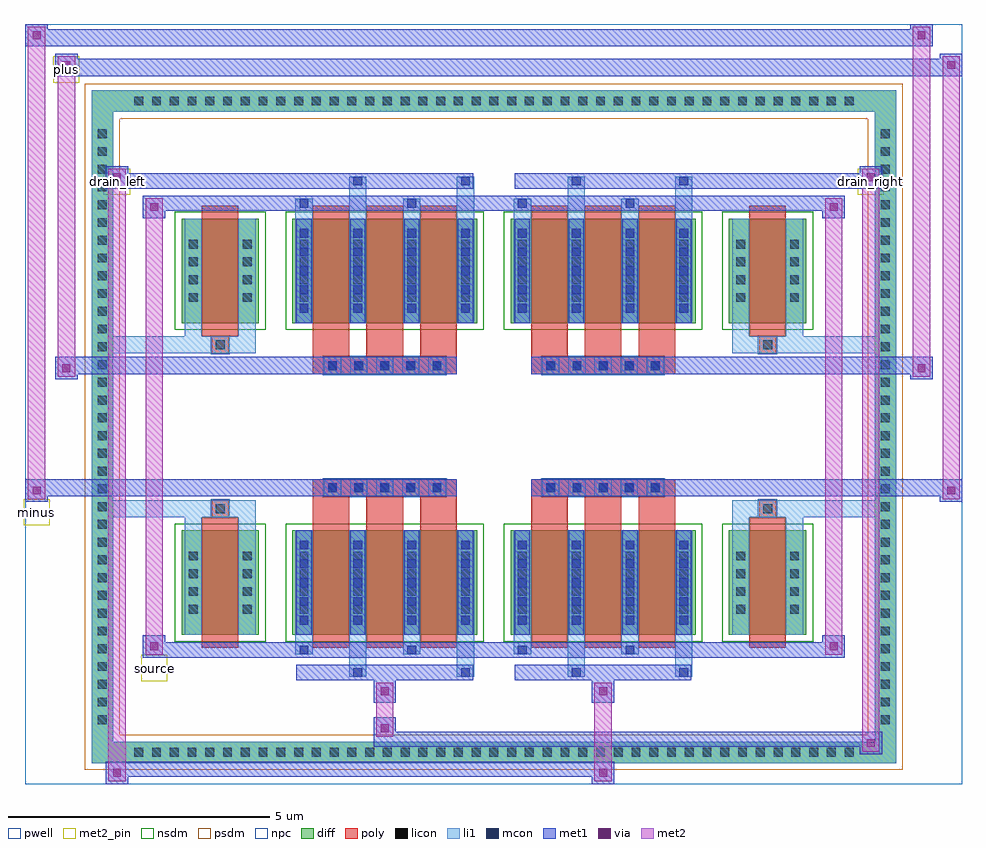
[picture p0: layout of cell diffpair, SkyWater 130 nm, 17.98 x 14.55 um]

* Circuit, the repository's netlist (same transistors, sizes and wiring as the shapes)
* NGSPICE file created from diffpair.ext - technology: sky130A

.subckt diffpair minus drain_right drain_left source plus
X0 a_n1540_n1288# a_n1540_n1288# a_n1540_n1288# a_n1540_n1288# sky130_fd_pr__nfet_01v8 ad=0.78 pd=4.78 as=6.24 ps=38.24 w=2 l=0.7
X1 drain_left plus source a_n1540_n1288# sky130_fd_pr__nfet_01v8 ad=0.33 pd=2.33 as=0.78 ps=4.78 w=2 l=0.7
X2 source minus drain_right a_n1540_n1288# sky130_fd_pr__nfet_01v8 ad=0.33 pd=2.33 as=0.33 ps=2.33 w=2 l=0.7
X3 drain_left plus source a_n1540_n1288# sky130_fd_pr__nfet_01v8 ad=0.78 pd=4.78 as=0.33 ps=2.33 w=2 l=0.7
X4 drain_left plus source a_n1540_n1288# sky130_fd_pr__nfet_01v8 ad=0.78 pd=4.78 as=0.33 ps=2.33 w=2 l=0.7
X5 a_n1540_n1288# a_n1540_n1288# a_n1540_n1288# a_n1540_n1288# sky130_fd_pr__nfet_01v8 ad=0.78 pd=4.78 as=0 ps=0 w=2 l=0.7
X6 drain_right minus source a_n1540_n1288# sky130_fd_pr__nfet_01v8 ad=0.78 pd=4.78 as=0.33 ps=2.33 w=2 l=0.7
X7 a_n1540_n1288# a_n1540_n1288# a_n1540_n1288# a_n1540_n1288# sky130_fd_pr__nfet_01v8 ad=0.78 pd=4.78 as=0 ps=0 w=2 l=0.7
X8 a_n1540_n1288# a_n1540_n1288# a_n1540_n1288# a_n1540_n1288# sky130_fd_pr__nfet_01v8 ad=0.78 pd=4.78 as=0 ps=0 w=2 l=0.7
X9 source minus drain_right a_n1540_n1288# sky130_fd_pr__nfet_01v8 ad=0.33 pd=2.33 as=0.33 ps=2.33 w=2 l=0.7
X10 drain_right minus source a_n1540_n1288# sky130_fd_pr__nfet_01v8 ad=0.33 pd=2.33 as=0.78 ps=4.78 w=2 l=0.7
X11 drain_right minus source a_n1540_n1288# sky130_fd_pr__nfet_01v8 ad=0.78 pd=4.78 as=0.33 ps=2.33 w=2 l=0.7
X12 source plus drain_left a_n1540_n1288# sky130_fd_pr__nfet_01v8 ad=0.33 pd=2.33 as=0.33 ps=2.33 w=2 l=0.7
X13 drain_right minus source a_n1540_n1288# sky130_fd_pr__nfet_01v8 ad=0.33 pd=2.33 as=0.78 ps=4.78 w=2 l=0.7
X14 source plus drain_left a_n1540_n1288# sky130_fd_pr__nfet_01v8 ad=0.33 pd=2.33 as=0.33 ps=2.33 w=2 l=0.7
X15 drain_left plus source a_n1540_n1288# sky130_fd_pr__nfet_01v8 ad=0.33 pd=2.33 as=0.78 ps=4.78 w=2 l=0.7
.ends

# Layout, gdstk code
import gdstk
lib = gdstk.Library(unit=1e-6, precision=5e-09)
def R(c, l, rs):  # rectangles x0, y0, x1, y1
    for r in rs: c.add(gdstk.rectangle(r[:2], r[2:], *l))
def A(c, l, x, y, w, h, nx, ny, dx, dy):  # array of equal rectangles
    R(c, l, [(x+i*dx, y+j*dy, x+i*dx+w, y+j*dy+h) for i in range(nx) for j in range(ny)])
def P(c, l, *ps):  # polygons
    for p in ps: c.add(gdstk.Polygon(p, *l))
pwell = (64, 44)
diff = (65, 20)
poly = (66, 20)
licon = (66, 44)
li1 = (67, 20)
mcon = (67, 44)
met1 = (68, 20)
via = (68, 44)
met2_pin = (69, 16)
met2 = (69, 20)
nsdm = (93, 44)
psdm = (94, 20)
npc = (95, 20)

diffpair = lib.new_cell('diffpair')
R(diffpair, pwell, [(-8.97,-6.84,8.97,7.71), (-6.29,-5.03,-0.01,-0.805), (0.01,-5.03,6.29,-0.805), (-6.29,0.805,-0.01,5.03), (0.01,0.805,6.29,5.03)])
A(diffpair, diff, -7.005, -6.44, 0.41, 0.41, 41, 2, 0.34, 12.47)
A(diffpair, diff, -7.7, -5.815, 0.41, 0.41, 1, 34, 0, 0.34)
A(diffpair, diff, 7.29, -5.815, 0.41, 0.41, 1, 34, 0, 0.34)
R(diffpair, diff, [(-7.005,-6.44,7.005,-6.03), (-7.7,-5.815,-7.29,5.815), (7.29,-5.815,7.7,5.815), (-5.98,-3.985,-4.5,-1.985), (-3.86,-3.985,-0.32,-1.985), (0.32,-3.985,3.86,-1.985), (4.5,-3.985,5.98,-1.985), (-5.98,1.985,-4.5,3.985), (-3.86,1.985,-0.32,3.985), (0.32,1.985,3.86,3.985), (4.5,1.985,5.98,3.985), (-7.005,6.03,7.005,6.44)])
P(diffpair, diff, [(7.7,6.44),(-7.7,6.44),(-7.7,-6.03),(-7.29,-6.03),(-7.29,6.03),(7.29,6.03),(7.29,-6.03),(-7.29,-6.03),(-7.7,-6.03),(-7.7,-6.44),(7.7,-6.44)])
A(diffpair, poly, -3.47, -4.235, 0.7, 2.5, 3, 2, 1.03, 5.97)
A(diffpair, poly, 0.71, -4.235, 0.7, 2.5, 3, 2, 1.03, 5.97)
A(diffpair, poly, -3.47, -1.735, 0.7, 0.4, 3, 2, 1.03, 3.07)
A(diffpair, poly, 0.71, -1.735, 0.7, 0.4, 3, 2, 1.03, 3.07)
A(diffpair, poly, -3.255, -1.335, 0.33, 0.33, 5, 2, 0.5, 2.34)
A(diffpair, poly, 0.925, -1.335, 0.33, 0.33, 5, 2, 0.5, 2.34)
R(diffpair, poly, [(-5.59,-4.235,-4.89,-1.735), (4.89,-4.235,5.59,-1.735), (-5.405,-1.735,-5.075,-1.405), (-5.405,-1.735,-5.075,-1.405), (5.075,-1.735,5.405,-1.405), (5.075,-1.735,5.405,-1.405), (-3.47,-1.335,-0.71,-1.005), (0.71,-1.335,3.47,-1.005), (-3.47,1.005,-0.71,1.335), (0.71,1.005,3.47,1.335), (-5.405,1.405,-5.075,1.735), (-5.405,1.405,-5.075,1.735), (5.075,1.405,5.405,1.735), (5.075,1.405,5.405,1.735), (-5.59,1.735,-4.89,4.235), (4.89,1.735,5.59,4.235)])
A(diffpair, licon, -6.885, -6.32, 0.17, 0.17, 41, 2, 0.34, 12.47)
A(diffpair, licon, -7.58, -5.695, 0.17, 0.17, 1, 34, 0, 0.34)
A(diffpair, licon, 7.41, -5.695, 0.17, 0.17, 1, 34, 0, 0.34)
A(diffpair, licon, -5.84, -3.58, 0.17, 0.17, 1, 4, 0, 0.34)
A(diffpair, licon, -4.81, -3.58, 0.17, 0.17, 1, 4, 0, 0.34)
A(diffpair, licon, -3.72, -3.58, 0.17, 0.17, 4, 4, 1.03, 0.34)
A(diffpair, licon, 0.46, -3.58, 0.17, 0.17, 4, 4, 1.03, 0.34)
A(diffpair, licon, 4.64, -3.58, 0.17, 0.17, 1, 4, 0, 0.34)
A(diffpair, licon, 5.67, -3.58, 0.17, 0.17, 1, 4, 0, 0.34)
A(diffpair, licon, -3.175, -1.255, 0.17, 0.17, 5, 2, 0.5, 2.34)
A(diffpair, licon, 1.005, -1.255, 0.17, 0.17, 5, 2, 0.5, 2.34)
A(diffpair, licon, -5.84, 2.39, 0.17, 0.17, 1, 4, 0, 0.34)
A(diffpair, licon, -4.81, 2.39, 0.17, 0.17, 1, 4, 0, 0.34)
A(diffpair, licon, -3.72, 2.39, 0.17, 0.17, 4, 4, 1.03, 0.34)
A(diffpair, licon, 0.46, 2.39, 0.17, 0.17, 4, 4, 1.03, 0.34)
A(diffpair, licon, 4.64, 2.39, 0.17, 0.17, 1, 4, 0, 0.34)
A(diffpair, licon, 5.67, 2.39, 0.17, 0.17, 1, 4, 0, 0.34)
R(diffpair, licon, [(-5.325,-1.655,-5.155,-1.485), (5.155,-1.655,5.325,-1.485), (-5.325,1.485,-5.155,1.655), (5.155,1.485,5.325,1.655)])
A(diffpair, li1, -6.965, -6.4, 0.33, 0.33, 41, 2, 0.34, 12.47)
A(diffpair, li1, -7.66, -5.775, 0.33, 0.33, 1, 34, 0, 0.34)
A(diffpair, li1, 7.33, -5.775, 0.33, 0.33, 1, 34, 0, 0.34)
A(diffpair, li1, -3.8, -3.985, 0.33, 2, 4, 2, 1.03, 5.97)
A(diffpair, li1, 0.38, -3.985, 0.33, 2, 4, 2, 1.03, 5.97)
A(diffpair, li1, -3.72, -3.79, 0.17, 0.17, 4, 5, 1.03, 0.36)
A(diffpair, li1, -3.72, -3.79, 0.17, 1.61, 4, 2, 1.03, 5.97)
A(diffpair, li1, 0.46, -3.79, 0.17, 0.17, 4, 5, 1.03, 0.36)
A(diffpair, li1, 0.46, -3.79, 0.17, 1.61, 4, 2, 1.03, 5.97)
A(diffpair, li1, -5.92, -3.66, 0.33, 0.33, 1, 4, 0, 0.34)
A(diffpair, li1, -4.89, -3.66, 0.33, 0.33, 1, 4, 0, 0.34)
A(diffpair, li1, -3.8, -3.66, 0.33, 0.33, 4, 4, 1.03, 0.34)
A(diffpair, li1, 0.38, -3.66, 0.33, 0.33, 4, 4, 1.03, 0.34)
A(diffpair, li1, 4.56, -3.66, 0.33, 0.33, 1, 4, 0, 0.34)
A(diffpair, li1, 5.59, -3.66, 0.33, 0.33, 1, 4, 0, 0.34)
A(diffpair, li1, -3.255, -1.335, 0.33, 0.33, 5, 2, 0.5, 2.34)
A(diffpair, li1, 0.925, -1.335, 0.33, 0.33, 5, 2, 0.5, 2.34)
A(diffpair, li1, -3.72, 2.18, 0.17, 0.17, 4, 5, 1.03, 0.36)
A(diffpair, li1, 0.46, 2.18, 0.17, 0.17, 4, 5, 1.03, 0.36)
A(diffpair, li1, -5.92, 2.31, 0.33, 0.33, 1, 4, 0, 0.34)
A(diffpair, li1, -4.89, 2.31, 0.33, 0.33, 1, 4, 0, 0.34)
A(diffpair, li1, -3.8, 2.31, 0.33, 0.33, 4, 4, 1.03, 0.34)
A(diffpair, li1, 0.38, 2.31, 0.33, 0.33, 4, 4, 1.03, 0.34)
A(diffpair, li1, 4.56, 2.31, 0.33, 0.33, 1, 4, 0, 0.34)
A(diffpair, li1, 5.59, 2.31, 0.33, 0.33, 1, 4, 0, 0.34)
R(diffpair, li1, [(-7.7,-6.44,-7.29,-6.03), (-7.7,-6.44,-7.29,-6.03), (-7.29,-6.44,7.29,-6.03), (7.29,-6.44,7.7,-6.03), (7.29,-6.44,7.7,-6.03), (-7.7,-6.03,-7.29,6.03), (7.29,-6.03,7.7,6.03), (-2.77,-4.79,-2.44,-3.985), (-2.69,-4.79,-2.52,-4.62), (-0.71,-4.79,-0.38,-3.985), (-0.63,-4.79,-0.46,-4.62), (1.41,-4.79,1.74,-3.985), (1.49,-4.79,1.66,-4.62), (3.47,-4.79,3.8,-3.985), (3.55,-4.79,3.72,-4.62), (-3.8,-4.36,-3.47,-3.985), (-3.72,-4.36,-3.55,-4.19), (-1.74,-4.36,-1.41,-3.985), (-1.66,-4.36,-1.49,-4.19), (0.38,-4.36,0.71,-3.985), (0.46,-4.36,0.63,-4.19), (2.44,-4.36,2.77,-3.985), (2.52,-4.36,2.69,-4.19), (-5.92,-3.985,-5.59,-1.985), (-4.89,-3.985,-4.56,-1.985), (4.56,-3.985,4.89,-1.985), (5.59,-3.985,5.92,-1.985), (-5.92,-1.985,-5.59,-1.405), (-4.89,-1.985,-4.56,-1.405), (4.56,-1.985,4.89,-1.405), (5.59,-1.985,5.92,-1.405), (-7.7,-1.735,-5.405,-1.405), (-5.92,-1.735,-5.405,-1.405), (-5.405,-1.735,-5.075,-1.405), (-5.075,-1.735,-4.56,-1.405), (4.56,-1.735,5.075,-1.405), (5.075,-1.735,5.405,-1.405), (5.075,-1.735,7.7,-1.405), (5.405,-1.735,5.92,-1.405), (-7.7,1.405,-5.405,1.735), (-5.92,1.405,-5.405,1.735), (-5.92,1.405,-5.59,1.985), (-5.405,1.405,-5.075,1.735), (-5.075,1.405,-4.56,1.735), (-4.89,1.405,-4.56,1.985), (4.56,1.405,5.075,1.735), (4.56,1.405,4.89,1.985), (5.075,1.405,5.405,1.735), (5.075,1.405,7.7,1.735), (5.405,1.405,5.92,1.735), (5.59,1.405,5.92,1.985), (-5.92,1.985,-5.59,3.985), (-4.89,1.985,-4.56,3.985), (4.56,1.985,4.89,3.985), (5.59,1.985,5.92,3.985), (-3.8,3.985,-3.47,4.36), (-2.77,3.985,-2.44,4.79), (-1.74,3.985,-1.41,4.36), (-0.71,3.985,-0.38,4.79), (0.38,3.985,0.71,4.36), (1.41,3.985,1.74,4.79), (2.44,3.985,2.77,4.36), (3.47,3.985,3.8,4.79), (-3.72,4.19,-3.55,4.36), (-1.66,4.19,-1.49,4.36), (0.46,4.19,0.63,4.36), (2.52,4.19,2.69,4.36), (-2.69,4.62,-2.52,4.79), (-0.63,4.62,-0.46,4.79), (1.49,4.62,1.66,4.79), (3.55,4.62,3.72,4.79), (-7.7,6.03,-7.29,6.44), (-7.7,6.03,-7.29,6.44), (-7.29,6.03,7.29,6.44), (7.29,6.03,7.7,6.44), (7.29,6.03,7.7,6.44)])
A(diffpair, mcon, -3.72, -3.79, 0.17, 0.17, 4, 5, 1.03, 0.36)
A(diffpair, mcon, 0.46, -3.79, 0.17, 0.17, 4, 5, 1.03, 0.36)
A(diffpair, mcon, -3.175, -1.255, 0.17, 0.17, 5, 2, 0.5, 2.34)
A(diffpair, mcon, 1.005, -1.255, 0.17, 0.17, 5, 2, 0.5, 2.34)
A(diffpair, mcon, -3.72, 2.18, 0.17, 0.17, 4, 5, 1.03, 0.36)
A(diffpair, mcon, 0.46, 2.18, 0.17, 0.17, 4, 5, 1.03, 0.36)
R(diffpair, mcon, [(-2.69,-4.79,-2.52,-4.62), (-0.63,-4.79,-0.46,-4.62), (1.49,-4.79,1.66,-4.62), (3.55,-4.79,3.72,-4.62), (-3.72,-4.36,-3.55,-4.19), (-1.66,-4.36,-1.49,-4.19), (0.46,-4.36,0.63,-4.19), (2.52,-4.36,2.69,-4.19), (-3.72,4.19,-3.55,4.36), (-1.66,4.19,-1.49,4.36), (0.46,4.19,0.63,4.36), (2.52,4.19,2.69,4.36), (-2.69,4.62,-2.52,4.79), (-0.63,4.62,-0.46,4.79), (1.49,4.62,1.66,4.79), (3.55,4.62,3.72,4.79)])
A(diffpair, met1, -3.78, -3.985, 0.29, 2, 4, 2, 1.03, 5.97)
A(diffpair, met1, 0.4, -3.985, 0.29, 2, 4, 2, 1.03, 5.97)
A(diffpair, met1, -3.78, -3.85, 0.29, 0.29, 4, 5, 1.03, 0.36)
A(diffpair, met1, 0.4, -3.85, 0.29, 0.29, 4, 5, 1.03, 0.36)
A(diffpair, met1, -3.235, -1.315, 0.29, 0.29, 5, 2, 0.5, 2.34)
A(diffpair, met1, 0.945, -1.315, 0.29, 0.29, 5, 2, 0.5, 2.34)
A(diffpair, met1, -3.78, 2.12, 0.29, 0.29, 4, 5, 1.03, 0.36)
A(diffpair, met1, 0.4, 2.12, 0.29, 0.29, 4, 5, 1.03, 0.36)
R(diffpair, met1, [(-7.43,-6.84,-7,-6.41), (1.875,-6.84,2.305,-6.41), (-7.43,-6.7,2.305,-6.41), (7,-6.27,7.43,-5.84), (-2.305,-6.13,7.43,-5.84), (-2.305,-5.99,-1.875,-5.56), (-2.305,-5.28,-1.875,-4.85), (1.875,-5.28,2.305,-4.85), (-3.78,-4.85,-0.4,-4.56), (-2.75,-4.85,-2.46,-4.56), (-0.69,-4.85,-0.4,-4.56), (0.4,-4.85,3.78,-4.56), (1.43,-4.85,1.72,-4.56), (3.49,-4.85,3.78,-4.56), (-6.72,-4.42,-6.29,-3.99), (-6.72,-4.42,-3.78,-4.13), (-3.78,-4.42,-3.49,-4.13), (-3.78,-4.42,-0.4,-4.13), (-1.72,-4.42,-1.43,-4.13), (-0.4,-4.42,0.4,-4.13), (0.4,-4.42,0.69,-4.13), (0.4,-4.42,3.78,-4.13), (2.46,-4.42,2.75,-4.13), (3.78,-4.42,6.72,-4.13), (6.29,-4.42,6.72,-3.99), (-8.97,-1.435,-8.54,-1.005), (8.54,-1.435,8.97,-1.005), (-8.97,-1.335,-0.71,-1.005), (-3.47,-1.335,-0.71,-1.005), (0.71,-1.335,3.47,-1.005), (0.71,-1.335,8.97,-1.005), (-8.4,0.905,-7.97,1.335), (7.97,0.905,8.4,1.335), (-8.4,1.005,-3.47,1.335), (-3.47,1.005,-0.71,1.335), (0.71,1.005,3.47,1.335), (3.47,1.005,8.4,1.335), (-6.72,3.99,-6.29,4.42), (6.29,3.99,6.72,4.42), (-6.72,4.13,-3.78,4.42), (-3.78,4.13,-3.49,4.42), (-3.78,4.13,-0.4,4.42), (-1.72,4.13,-1.43,4.42), (-0.4,4.13,0.4,4.42), (0.4,4.13,0.69,4.42), (0.4,4.13,3.78,4.42), (2.46,4.13,2.75,4.42), (3.78,4.13,6.72,4.42), (-7.43,4.56,-7,4.99), (-7.43,4.56,-3.78,4.85), (-3.78,4.56,-0.4,4.85), (-2.75,4.56,-2.46,4.85), (-0.69,4.56,-0.4,4.85), (0.4,4.56,3.78,4.85), (1.43,4.56,1.72,4.85), (3.49,4.56,3.78,4.85), (3.78,4.56,7.43,4.85), (7,4.56,7.43,4.99), (-8.4,6.71,-7.97,7.14), (-8.4,6.71,-6.29,7.04), (-6.29,6.71,6.29,7.04), (6.29,6.71,8.97,7.04), (8.54,6.71,8.97,7.14), (-8.97,7.28,-8.54,7.71), (-8.97,7.28,-6.29,7.61), (-6.29,7.28,6.29,7.61), (6.29,7.28,8.4,7.61), (7.97,7.28,8.4,7.71)])
R(diffpair, via, [(-7.29,-6.7,-7.14,-6.55), (2.015,-6.7,2.165,-6.55), (7.14,-6.13,7.29,-5.98), (-2.165,-5.85,-2.015,-5.7), (-2.165,-5.14,-2.015,-4.99), (2.015,-5.14,2.165,-4.99), (-6.58,-4.28,-6.43,-4.13), (6.43,-4.28,6.58,-4.13), (-8.83,-1.295,-8.68,-1.145), (8.68,-1.295,8.83,-1.145), (-8.26,1.045,-8.11,1.195), (8.11,1.045,8.26,1.195), (-6.58,4.13,-6.43,4.28), (6.43,4.13,6.58,4.28), (-7.29,4.7,-7.14,4.85), (7.14,4.7,7.29,4.85), (-8.26,6.85,-8.11,7), (8.68,6.85,8.83,7), (-8.83,7.42,-8.68,7.57), (8.11,7.42,8.26,7.57)])
R(diffpair, met2_pin, [(-6.755,-4.87,-6.255,-4.37), (-9.005,-1.885,-8.505,-1.385), (-7.465,4.44,-6.965,4.94), (6.965,4.44,7.465,4.94), (-8.435,6.59,-7.935,7.09)])
R(diffpair, met2, [(-7.38,-6.79,-7.05,-6.46), (-7.38,-6.79,-7.05,4.94), (1.925,-6.79,2.255,-6.46), (1.925,-6.46,2.255,-5.23), (7.05,-6.22,7.38,-5.89), (7.05,-6.22,7.38,4.94), (-2.255,-5.94,-1.925,-5.61), (-2.255,-5.61,-1.925,-5.23), (-2.255,-5.23,-1.925,-4.9), (1.925,-5.23,2.255,-4.9), (-6.67,-4.37,-6.34,-4.04), (-6.67,-4.37,-6.34,4.37), (6.34,-4.37,6.67,-4.04), (6.34,-4.37,6.67,4.37), (-8.92,-1.385,-8.59,-1.055), (-8.92,-1.385,-8.59,7.66), (8.59,-1.385,8.92,-1.055), (8.59,-1.385,8.92,7.09), (-8.35,0.955,-8.02,1.285), (-8.35,0.955,-8.02,7.09), (8.02,0.955,8.35,1.285), (8.02,0.955,8.35,7.66), (-6.67,4.04,-6.34,4.37), (6.34,4.04,6.67,4.37), (-7.38,4.61,-7.05,4.94), (7.05,4.61,7.38,4.94), (-8.35,6.76,-8.02,7.09), (8.59,6.76,8.92,7.09), (-8.92,7.33,-8.59,7.66), (8.02,7.33,8.35,7.66)])
P(diffpair, met2, [(8.92,-1.385),(8.92,-1.385),(8.92,-1.055),(8.92,-1.055)],
  [(8.92,6.76),(8.92,6.76),(8.92,7.09),(8.92,7.09)],
  [(-8.59,-1.385),(-8.59,-1.385),(-8.59,-1.055),(-8.59,-1.055)],
  [(-8.59,7.33),(-8.59,7.33),(-8.59,7.66),(-8.59,7.66)],
  [(8.35,0.955),(8.35,0.955),(8.35,1.285),(8.35,1.285)],
  [(8.35,7.33),(8.35,7.33),(8.35,7.66),(8.35,7.66)],
  [(-8.02,0.955),(-8.02,0.955),(-8.02,1.285),(-8.02,1.285)],
  [(-8.02,6.76),(-8.02,6.76),(-8.02,7.09),(-8.02,7.09)],
  [(-7.05,-6.79),(-7.05,-6.79),(-7.05,-6.46),(-7.05,-6.46)],
  [(-7.05,4.61),(-7.05,4.61),(-7.05,4.94),(-7.05,4.94)],
  [(7.38,-6.22),(7.38,-6.22),(7.38,-5.89),(7.38,-5.89)],
  [(7.38,4.61),(7.38,4.61),(7.38,4.94),(7.38,4.94)],
  [(-6.34,-4.37),(-6.34,-4.37),(-6.34,-4.04),(-6.34,-4.04)],
  [(-6.34,4.04),(-6.34,4.04),(-6.34,4.37),(-6.34,4.37)],
  [(6.67,-4.37),(6.67,-4.37),(6.67,-4.04),(6.67,-4.04)],
  [(6.67,4.04),(6.67,4.04),(6.67,4.37),(6.67,4.37)])
R(diffpair, nsdm, [(-6.11,-4.115,-4.37,-1.855), (-3.99,-4.115,-0.19,-1.855), (0.19,-4.115,3.99,-1.855), (4.37,-4.115,6.11,-1.855), (-6.11,1.855,-4.37,4.115), (-3.99,1.855,-0.19,4.115), (0.19,1.855,3.99,4.115), (4.37,1.855,6.11,4.115)])
P(diffpair, psdm, [(7.83,6.57),(-7.83,6.57),(-7.83,-5.9),(-7.16,-5.9),(-7.16,5.9),(7.16,5.9),(7.16,-5.9),(-7.16,-5.9),(-7.83,-5.9),(-7.83,-6.57),(7.83,-6.57)])
A(diffpair, npc, -3.275, -1.355, 0.37, 0.37, 5, 2, 0.5, 2.34)
A(diffpair, npc, 0.905, -1.355, 0.37, 0.37, 5, 2, 0.5, 2.34)
R(diffpair, npc, [(-5.425,-1.755,-5.055,-1.385), (5.055,-1.755,5.425,-1.385), (-3.275,-1.355,-2.405,-0.985), (-3.275,-1.355,-2.405,-0.985), (-2.775,-1.355,-1.905,-0.985), (-2.775,-1.355,-1.905,-0.985), (-2.275,-1.355,-1.405,-0.985), (-2.275,-1.355,-1.405,-0.985), (-1.775,-1.355,-0.905,-0.985), (-1.775,-1.355,-0.905,-0.985), (0.905,-1.355,1.775,-0.985), (0.905,-1.355,1.775,-0.985), (1.405,-1.355,2.275,-0.985), (1.405,-1.355,2.275,-0.985), (1.905,-1.355,2.775,-0.985), (1.905,-1.355,2.775,-0.985), (2.405,-1.355,3.275,-0.985), (2.405,-1.355,3.275,-0.985), (-3.275,0.985,-2.405,1.355), (-3.275,0.985,-2.405,1.355), (-2.775,0.985,-1.905,1.355), (-2.775,0.985,-1.905,1.355), (-2.275,0.985,-1.405,1.355), (-2.275,0.985,-1.405,1.355), (-1.775,0.985,-0.905,1.355), (-1.775,0.985,-0.905,1.355), (0.905,0.985,1.775,1.355), (0.905,0.985,1.775,1.355), (1.405,0.985,2.275,1.355), (1.405,0.985,2.275,1.355), (1.905,0.985,2.775,1.355), (1.905,0.985,2.775,1.355), (2.405,0.985,3.275,1.355), (2.405,0.985,3.275,1.355), (-5.425,1.385,-5.055,1.755), (5.055,1.385,5.425,1.755)])
diffpair.add(gdstk.Label('minus', (-8.755,-1.635), layer=69, texttype=5))
diffpair.add(gdstk.Label('drain_right', (7.215,4.69), layer=69, texttype=5))
diffpair.add(gdstk.Label('drain_left', (-7.215,4.69), layer=69, texttype=5))
diffpair.add(gdstk.Label('source', (-6.505,-4.62), layer=69, texttype=5))
diffpair.add(gdstk.Label('plus', (-8.185,6.84), layer=69, texttype=5))

lib.write_gds('diffpair.gds')
